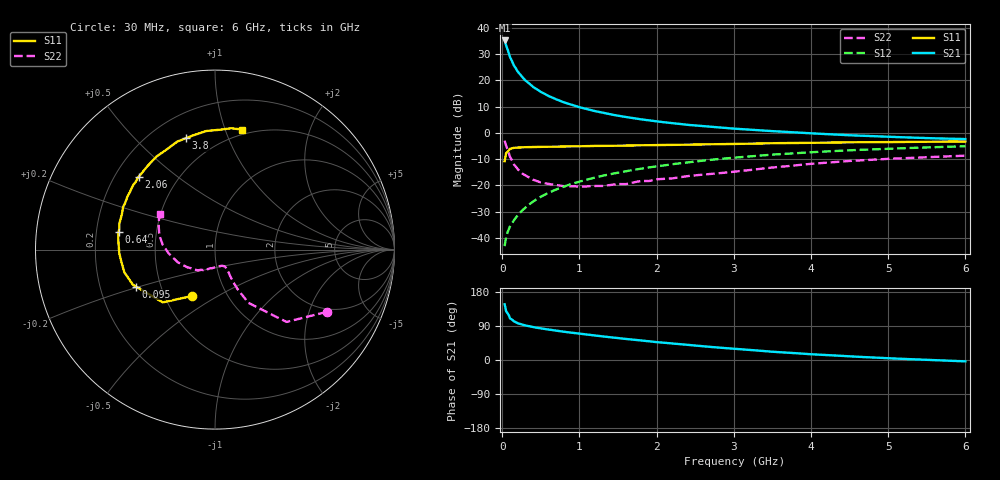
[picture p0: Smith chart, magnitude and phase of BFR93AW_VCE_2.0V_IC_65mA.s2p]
! Infineon Technologies  Discrete & RF Semiconductors
! BFR93AW
! VCE =  2.0 V,  IC =  65 mA
! Common Emitter S-Parameters:  Nov 2015
# GHz  S  MA  R  50
!  f  S11  S21  S12  S22
! GHz  MAG  ANG  MAG  ANG  MAG  ANG  MAG  ANG
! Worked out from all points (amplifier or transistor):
!   206 points, 30 MHz to 6 GHz, reference 50 ohm
!   highest |S21| = 35.1 dB at 30 MHz (marker M1)
!   |S21| within 3 dB of that: start of sweep to 63.72 MHz
!   unconditionally stable (mu >= 1): 213.2 MHz to 2.653 GHz
!   at 200 MHz: K = 0.99, MSG = 27.3 dB, |S12| = -31.3 dB
!   at 1.56 GHz: K = 1.07, MAG = 8.9 dB, |S12| = -14.8 dB
!   at 6 GHz: K = 0.97, MSG = 1.4 dB, |S12| = -5.1 dB
!   S11 on the Smith chart (normalised r, x): 30 MHz: 0.68, -0.39; 95 MHz: 0.36, -0.19; 640 MHz: 0.30, +0.08; 2.06 GHz: 0.30, +0.37; 3.8 GHz: 0.34, +0.72; 6 GHz: 0.46, +1.15
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0.03  0.2889 -116.5  57.18 147.0  0.007 64.8  0.7125 -29.2
0.05  0.4139 -134.7  45.81 128.3  0.0105 61.7  0.5669 -45.3
0.095  0.4863 -154.9  29.2 112.8  0.0161 64.6  0.3702 -56.0
0.1  0.4975 -156.8  27.57 110.0  0.0167 64.8  0.3496 -57.9
0.15  0.5207 -165.9  19.14 102.0  0.0216 68.5  0.2523 -60.3
0.2  0.5248 -171.1  14.64 97.0  0.0271 71.9  0.2038 -60.7
0.24  0.5286 -174.5  12.36 94.5  0.0314 73.6  0.1779 -60.3
0.26  0.5305 -175.9  11.41 93.2  0.0336 74.0  0.168 -60.1
0.3  0.5336 -177.9  9.882 91.0  0.0379 74.3  0.1544 -59.4
0.4  0.538 177.3  7.448 86.7  0.0495 75.3  0.1284 -58.1
0.5  0.5422 173.6  6 83.2  0.061 75.8  0.1137 -59.2
0.64  0.5456 169.5  4.743 79.1  0.077 75.5  0.1049 -61.5
0.8  0.5524 164.7  3.8 74.5  0.0949 75.0  0.0966 -68.4
1.04  0.5561 158.5  2.97 68.5  0.1227 73.0  0.0953 -78.1
1.5  0.5707 148.4  2.116 57.8  0.1748 69.0  0.1062 -99.7
2.02  0.5871 137.0  1.638 46.9  0.2328 63.6  0.1315 -119.6
2.06  0.5876 136.2  1.613 46.2  0.2373 63.1  0.1325 -120.7
3.1  0.6187 116.1  1.177 28.2  0.3464 51.2  0.1889 -150.4
3.8  0.6417 104.5  1.017 18.0  0.4111 42.9  0.2408 -170.0
4.1  0.6494 99.9  0.963 14.2  0.436 39.4  0.264 -177.2
5.1  0.6696 87.0  0.833 3.7  0.5051 28.1  0.3247 163.4
6  0.6857 77.1  0.762 -3.6  0.5577 18.9  0.3686 147.0
